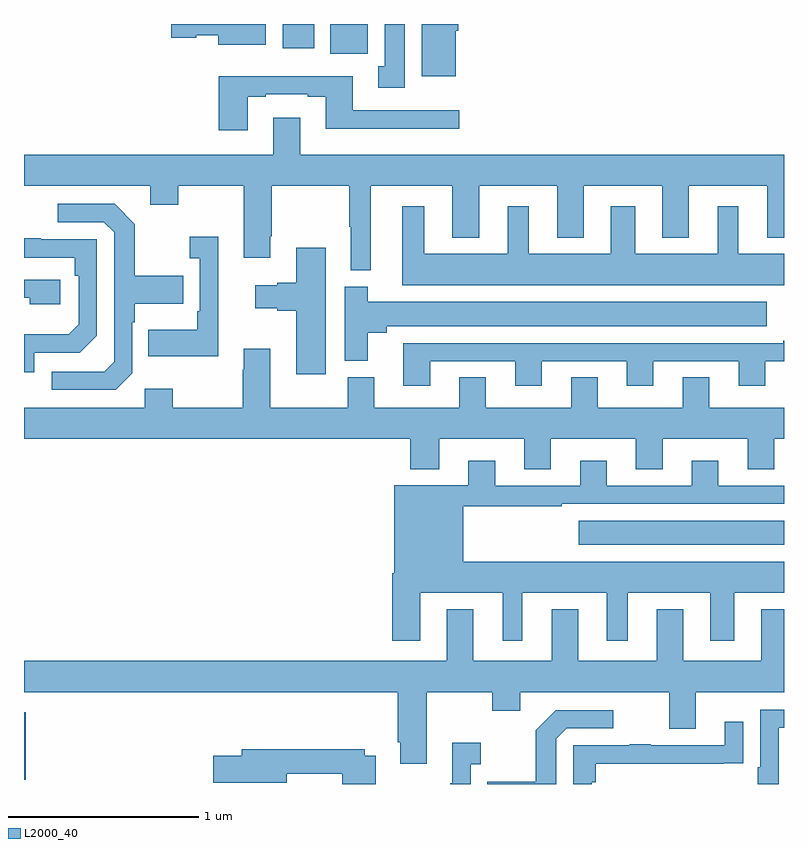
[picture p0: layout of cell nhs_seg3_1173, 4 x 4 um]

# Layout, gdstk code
import gdstk
lib = gdstk.Library(unit=1e-6, precision=1e-09)
def R(c, l, rs):  # rectangles x0, y0, x1, y1
    for r in rs: c.add(gdstk.rectangle(r[:2], r[2:], *l))
def P(c, l, *ps):  # polygons
    for p in ps: c.add(gdstk.Polygon(p, *l))
L2000_40 = (2000, 40)

nhs_seg3_1173 = lib.new_cell('nhs_seg3_1173')
R(nhs_seg3_1173, L2000_40, [(171,732.422,171.008,732.778), (173.919,733.658,175,733.786), (172.613,736.244,172.81,736.4), (172.361,736.272,172.528,736.4)])
P(nhs_seg3_1173, L2000_40, [(173.272,736.364),(173.285,736.364),(173.285,736.4),(173.093,736.4),(173.093,736.124),(173.272,736.124)],
  [(173.005,736.4),(172.898,736.4),(172.898,736.178),(172.865,736.178),(172.865,736.065),(173.005,736.065)],
  [(172.273,736.4),(171.774,736.4),(171.774,736.328),(171.906,736.328),(171.906,736.34),(172.022,736.34),(172.022,736.292),(172.273,736.292)],
  [(172.177,736.017),(172.273,736.017),(172.273,736.029),(172.493,736.029),(172.493,736.017),(172.589,736.017),(172.589,735.848),(173.29,735.848),(173.29,735.945),(172.729,735.945),(172.729,736.126),(172.025,736.126),(172.025,735.84),(172.177,735.84)],
  [(172.825,735.548),(173.255,735.548),(173.255,735.275),(173.395,735.275),(173.395,735.548),(173.807,735.548),(173.807,735.275),(173.947,735.275),(173.947,735.548),(174.359,735.548),(174.359,735.275),(174.499,735.275),(174.499,735.548),(174.911,735.548),(174.911,735.275),(175,735.275),(175,735.712),(172.453,735.712),(172.453,735.907),(172.313,735.907),(172.313,735.712),(171,735.712),(171,735.548),(171.665,735.548),(171.665,735.449),(171.813,735.449),(171.813,735.548),(172.157,735.548),(172.157,735.171),(172.297,735.171),(172.297,735.283),(172.305,735.283),(172.305,735.548),(172.711,735.548),(172.711,735.332),(172.721,735.332),(172.721,735.103),(172.825,735.103)],
  [(171.57,734.562),(171.57,734.831),(171.583,734.831),(171.583,734.927),(171.839,734.927),(171.839,735.075),(171.583,735.075),(171.583,735.347),(171.477,735.453),(171.177,735.453),(171.177,735.357),(171.42,735.357),(171.474,735.303),(171.474,734.622),(171.423,734.571),(171.147,734.571),(171.147,734.475),(171.483,734.475)],
  [(175,735.19),(174.76,735.19),(174.76,735.442),(174.65,735.442),(174.65,735.19),(174.217,735.19),(174.217,735.442),(174.089,735.442),(174.089,735.19),(173.656,735.19),(173.656,735.442),(173.546,735.442),(173.546,735.19),(173.107,735.19),(173.107,735.442),(172.991,735.442),(172.991,735.026),(175,735.026)],
  [(172.022,735.28),(171.873,735.28),(171.873,735.167),(171.924,735.167),(171.924,734.887),(171.912,734.887),(171.912,734.791),(171.655,734.791),(171.655,734.651),(172.022,734.651)],
  [(171.054,734.67),(171.294,734.67),(171.384,734.76),(171.384,735.267),(171.089,735.267),(171.089,735.272),(171,735.272),(171,735.171),(171.268,735.171),(171.268,735.074),(171.288,735.074),(171.288,734.82),(171.235,734.767),(171,734.767),(171,734.568),(171.054,734.568)],
  [(172.588,735.223),(172.433,735.223),(172.433,735.038),(172.334,735.038),(172.334,735.025),(172.218,735.025),(172.218,734.903),(172.334,734.903),(172.334,734.891),(172.433,734.891),(172.433,734.556),(172.588,734.556)],
  [(171.19,735.054),(171,735.054),(171,734.958),(171.029,734.958),(171.029,734.924),(171.19,734.924)],
  [(172.81,734.774),(172.909,734.774),(172.909,734.81),(174.91,734.81),(174.91,734.938),(172.81,734.938),(172.81,735.018),(172.688,735.018),(172.688,734.627),(172.81,734.627)],
  [(173.137,734.625),(173.585,734.625),(173.585,734.496),(173.725,734.496),(173.725,734.625),(174.173,734.625),(174.173,734.496),(174.313,734.496),(174.313,734.625),(174.761,734.625),(174.761,734.496),(174.901,734.496),(174.901,734.625),(175,734.625),(175,734.734),(174.997,734.734),(174.997,734.721),(172.997,734.721),(172.997,734.496),(173.137,734.496)],
  [(173.773,734.216),(174.221,734.216),(174.221,734.056),(174.361,734.056),(174.361,734.216),(174.809,734.216),(174.809,734.056),(174.949,734.056),(174.949,734.216),(175,734.216),(175,734.38),(174.607,734.38),(174.607,734.54),(174.467,734.54),(174.467,734.38),(174.019,734.38),(174.019,734.54),(173.879,734.54),(173.879,734.38),(173.431,734.38),(173.431,734.54),(173.291,734.54),(173.291,734.38),(172.843,734.38),(172.843,734.542),(172.703,734.542),(172.703,734.38),(172.297,734.38),(172.297,734.692),(172.157,734.692),(172.157,734.579),(172.15,734.579),(172.15,734.38),(171.783,734.38),(171.783,734.479),(171.636,734.479),(171.636,734.38),(171,734.38),(171,734.216),(173.033,734.216),(173.033,734.057),(173.185,734.057),(173.185,734.216),(173.633,734.216),(173.633,734.056),(173.773,734.056)],
  [(173.086,733.406),(173.519,733.406),(173.519,733.155),(173.623,733.155),(173.623,733.406),(174.068,733.406),(174.068,733.155),(174.178,733.155),(174.178,733.406),(174.611,733.406),(174.611,733.155),(174.739,733.155),(174.739,733.406),(175,733.406),(175,733.57),(173.311,733.57),(173.311,733.863),(173.831,733.863),(173.831,733.875),(175,733.875),(175,733.971),(174.655,733.971),(174.655,734.101),(174.515,734.101),(174.515,733.971),(174.067,733.971),(174.067,734.101),(173.927,734.101),(173.927,733.971),(173.479,733.971),(173.479,734.101),(173.339,734.101),(173.339,733.972),(172.949,733.972),(172.949,733.51),(172.937,733.51),(172.937,733.155),(173.086,733.155)],
  [(173.119,732.884),(173.464,732.884),(173.464,732.785),(173.611,732.785),(173.611,732.884),(174.395,732.884),(174.395,732.69),(174.535,732.69),(174.535,732.884),(175,732.884),(175,733.321),(174.881,733.321),(174.881,733.048),(174.469,733.048),(174.469,733.321),(174.329,733.321),(174.329,733.048),(173.917,733.048),(173.917,733.321),(173.777,733.321),(173.777,733.048),(173.365,733.048),(173.365,733.321),(173.225,733.321),(173.225,733.048),(171,733.048),(171,732.884),(172.967,732.884),(172.967,732.619),(172.979,732.619),(172.979,732.507),(173.119,732.507)],
  [(174.972,732.696),(175,732.696),(175,732.792),(174.876,732.792),(174.876,732.487),(174.863,732.487),(174.863,732.4),(174.972,732.4)],
  [(173.802,732.639),(173.856,732.693),(174.1,732.693),(174.1,732.789),(173.799,732.789),(173.694,732.683),(173.694,732.411),(173.437,732.411),(173.437,732.4),(173.802,732.4)],
  [(173.988,732.41),(174.008,732.41),(174.008,732.507),(174.683,732.507),(174.683,732.508),(174.785,732.508),(174.785,732.727),(174.689,732.727),(174.689,732.603),(174.299,732.603),(174.299,732.608),(174.187,732.608),(174.187,732.603),(173.892,732.603),(173.892,732.4),(173.988,732.4)],
  [(173.352,732.503),(173.404,732.503),(173.404,732.616),(173.255,732.616),(173.255,732.403),(173.244,732.403),(173.244,732.4),(173.352,732.4)],
  [(172.851,732.55),(172.794,732.55),(172.794,732.583),(172.145,732.583),(172.145,732.549),(171.996,732.549),(171.996,732.407),(172.384,732.407),(172.384,732.454),(172.676,732.454),(172.676,732.4),(172.851,732.4)])

lib.write_gds('nhs_seg3_1173.gds')
